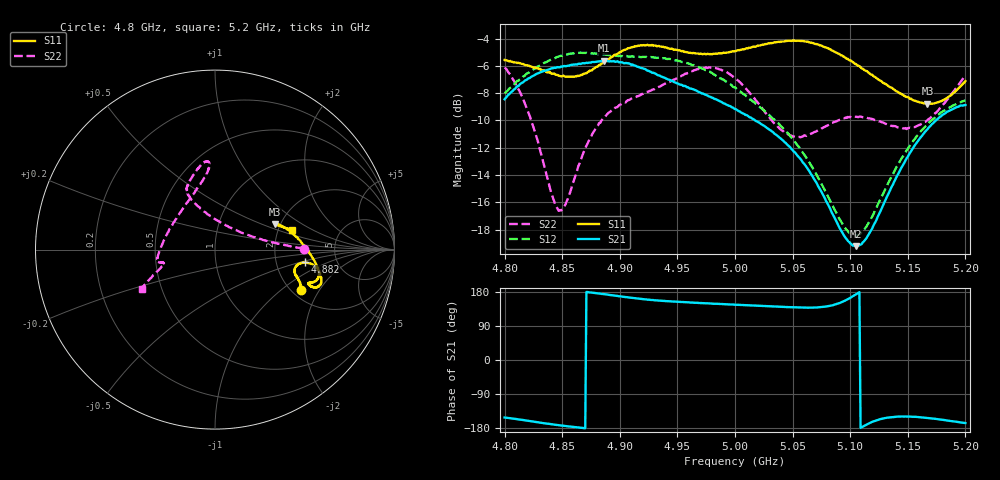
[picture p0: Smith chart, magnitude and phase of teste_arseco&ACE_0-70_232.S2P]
! Network Analyzer HP8722D
! Hewlett-Packard
! Data name: Linha & Wilkinson
! Saver's name: Rodrigo Anjos
! Comments: Teste da utilização de aquisição
! continua pelo VNA HP8722D
! Time and date: 8/5/2025 14:41
!  Frequency  S11  S21  S12  S22
# HZ  S  MA R 50
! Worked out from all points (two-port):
!   401 points, 4.8 GHz to 5.2 GHz, reference 50 ohm
!   highest |S21| = -5.63 dB at 4.886 GHz (marker M1); lowest = -19.2 dB at 5.105 GHz (marker M2)
!   |S21| within 3 dB of the highest: start of sweep to 4.988 GHz
!   lowest |S11| = -8.8 dB at 5.167 GHz (marker M3), VSWR 2.14, Z = 93.7 + j30.8 ohm
!   |S11| at or under -10 dB: nowhere
!   |S22| runs from -16.6 to -6.1 dB; largest |S21 - S12| = 1.1
!   S11 on the Smith chart (normalised r, x): 4.8 GHz: 2.23, -1.38; 4.882 GHz: 2.92, -0.56; 5.2 GHz: 2.36, +0.65
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4.8e9  0.5263 -25.1  0.378 -151.8  0.3974 7.5  0.4942 0.5
4.82e9  0.5028 -20.7  0.4486 -160.2  0.4717 4.6  0.3444 5.9
4.846e9  0.464 -16.3  0.4957 -171.7  0.5406 0.4  0.1502 54.1
4.853e9  0.4574 -14.6  0.4996 -174.3  0.5518 -0.6  0.1563 80.3
4.867e9  0.4636 -10.6  0.5113 -179.1  0.5595 -2.7  0.2321 107.7
4.882e9  0.5048 -8.1  0.5209 175.4  0.5536 -3.7  0.3092 115.3
4.886e9  0.5174 -8.2  0.5228 174.1  0.5526 -3.8  0.3239 115.7
4.909e9  0.5833 -10.9  0.5091 164.6  0.5418 -3.2  0.3779 114.7
4.934e9  0.593 -16.7  0.4624 156.7  0.5383 -3.8  0.4199 108.2
4.973e9  0.5541 -19.8  0.395 150.0  0.487 -7.2  0.4923 96.3
5e9  0.5676 -20.7  0.3477 145.9  0.4181 -7.3  0.4524 94.8
5.018e9  0.5898 -20.9  0.3149 143.7  0.364 -4.5  0.3744 102.5
5.042e9  0.6156 -18.9  0.2664 140.2  0.2951 0.6  0.2884 129.4
5.067e9  0.6078 -14.1  0.1984 138.2  0.2135 8.5  0.2837 165.1
5.094e9  0.5424 -4.5  0.1209 154.7  0.1305 34.3  0.3219 -172.9
5.105e9  0.5086 0.8  0.1095 173.2  0.1199 55.7  0.3261 -169.6
5.116e9  0.4729 6.6  0.1206 -167.8  0.1334 76.2  0.3215 -167.4
5.134e9  0.42 15.3  0.1734 -151.3  0.19 94.2  0.3042 -166.3
5.151e9  0.383 21.4  0.2372 -149.3  0.2532 99.0  0.2966 -164.9
5.167e9  0.3638 23.1  0.2933 -153.0  0.3064 99.8  0.3169 -161.7
5.183e9  0.3796 20.6  0.3372 -159.1  0.3464 99.7  0.3712 -157.6
5.2e9  0.4408 14.6  0.36 -166.6  0.3749 100.2  0.4624 -151.9
